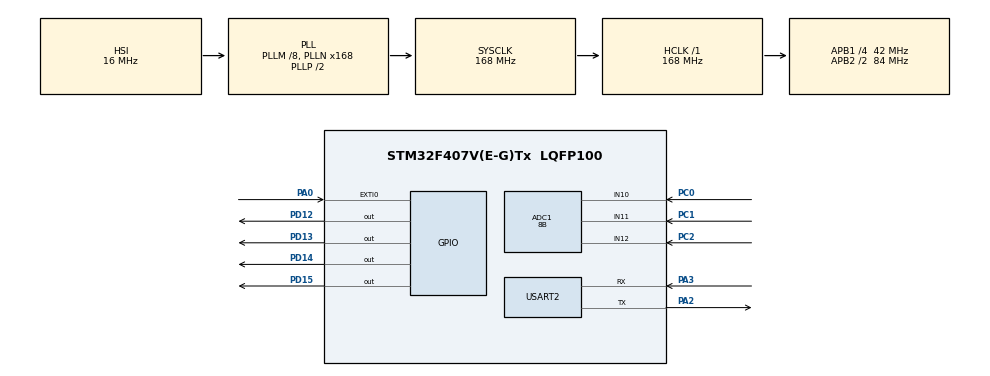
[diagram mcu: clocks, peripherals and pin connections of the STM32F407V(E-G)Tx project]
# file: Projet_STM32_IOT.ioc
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ADC1.Channel-0\#ChannelRegularConversion=ADC_CHANNEL_10
ADC1.Channel-1\#ChannelRegularConversion=ADC_CHANNEL_11
ADC1.Channel-2\#ChannelRegularConversion=ADC_CHANNEL_12
ADC1.ContinuousConvMode=ENABLE
ADC1.DMAContinuousRequests=ENABLE
ADC1.NbrOfConversion=3
ADC1.NbrOfConversionFlag=1
ADC1.Rank-0\#ChannelRegularConversion=1
ADC1.Rank-1\#ChannelRegularConversion=2
ADC1.Rank-2\#ChannelRegularConversion=3
ADC1.Resolution=ADC_RESOLUTION_8B
ADC1.SamplingTime-0\#ChannelRegularConversion=ADC_SAMPLETIME_3CYCLES
ADC1.SamplingTime-1\#ChannelRegularConversion=ADC_SAMPLETIME_3CYCLES
ADC1.SamplingTime-2\#ChannelRegularConversion=ADC_SAMPLETIME_3CYCLES
ADC1.master=1
Dma.ADC1.1.Direction=DMA_PERIPH_TO_MEMORY
Dma.ADC1.1.FIFOMode=DMA_FIFOMODE_DISABLE
Dma.ADC1.1.Instance=DMA2_Stream0
Dma.ADC1.1.MemDataAlignment=DMA_MDATAALIGN_HALFWORD
Dma.ADC1.1.MemInc=DMA_MINC_ENABLE
Dma.ADC1.1.Mode=DMA_CIRCULAR
Dma.ADC1.1.PeriphDataAlignment=DMA_PDATAALIGN_HALFWORD
Dma.ADC1.1.PeriphInc=DMA_PINC_DISABLE
Dma.ADC1.1.Priority=DMA_PRIORITY_LOW
Dma.Request0=USART2_RX
Dma.Request1=ADC1
Dma.USART2_RX.0.Direction=DMA_PERIPH_TO_MEMORY
Dma.USART2_RX.0.FIFOMode=DMA_FIFOMODE_DISABLE
Dma.USART2_RX.0.Instance=DMA1_Stream5
Dma.USART2_RX.0.MemDataAlignment=DMA_MDATAALIGN_BYTE
Dma.USART2_RX.0.MemInc=DMA_MINC_ENABLE
Dma.USART2_RX.0.Mode=DMA_NORMAL
Dma.USART2_RX.0.PeriphDataAlignment=DMA_PDATAALIGN_BYTE
Dma.USART2_RX.0.PeriphInc=DMA_PINC_DISABLE
Dma.USART2_RX.0.Priority=DMA_PRIORITY_LOW
Mcu.Family=STM32F4
Mcu.Name=STM32F407V(E-G)Tx
Mcu.Package=LQFP100
NVIC.ADC_IRQn=true\:0\:0\:false\:false\:true\:true\:true\:true
NVIC.DMA1_Stream5_IRQn=true\:0\:0\:false\:false\:true\:false\:true\:true
NVIC.DMA2_Stream0_IRQn=true\:0\:0\:false\:false\:true\:false\:true\:true
NVIC.EXTI0_IRQn=true\:0\:0\:false\:false\:true\:true\:true\:true
NVIC.PriorityGroup=NVIC_PRIORITYGROUP_0
NVIC.USART2_IRQn=true\:0\:0\:false\:false\:true\:true\:true\:true
PA0-WKUP.GPIO_ModeDefaultEXTI=GPIO_MODE_IT_FALLING
PA0-WKUP.GPIO_PuPd=GPIO_PULLDOWN
PA0-WKUP.Signal=GPXTI0
PA2.Mode=Asynchronous
PA2.Signal=USART2_TX
PA3.Mode=Asynchronous
PA3.Signal=USART2_RX
PC0.Signal=ADCx_IN10
PC1.Signal=ADCx_IN11
PC2.Signal=ADCx_IN12
PD12.Signal=GPIO_Output
PD13.Signal=GPIO_Output
PD14.Signal=GPIO_Output
PD15.Signal=GPIO_Output
ProjectManager.HeapSize=0x200
ProjectManager.StackSize=0x400
ProjectManager.TargetToolchain=STM32CubeIDE
RCC.48MHZClocksFreq_Value=48000000
RCC.AHBFreq_Value=168000000
RCC.APB1CLKDivider=RCC_HCLK_DIV4
RCC.APB1Freq_Value=42000000
RCC.APB1TimFreq_Value=84000000
RCC.APB2CLKDivider=RCC_HCLK_DIV2
RCC.APB2Freq_Value=84000000
RCC.APB2TimFreq_Value=168000000
RCC.CortexFreq_Value=168000000
RCC.HCLKFreq_Value=168000000
RCC.HSE_VALUE=8000000
RCC.HSI_VALUE=16000000
RCC.LSE_VALUE=32768
RCC.PLLM=8
RCC.PLLN=168
RCC.PLLQ=7
RCC.SYSCLKFreq_VALUE=168000000
RCC.SYSCLKSource=RCC_SYSCLKSOURCE_PLLCLK
RCC.VCOOutputFreq_Value=336000000
SH.ADCx_IN10.0=ADC1_IN10,IN10
SH.ADCx_IN11.0=ADC1_IN11,IN11
SH.ADCx_IN12.0=ADC1_IN12,IN12
USART2.VirtualMode=VM_ASYNC
board=STM32F407G-DISC1

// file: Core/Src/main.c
/* USER CODE BEGIN Header */
/**
  ******************************************************************************
  * @file           : main.c
  * @brief          : Main program body
  ******************************************************************************
  * @attention
  *
  * Copyright (c) 2025 STMicroelectronics.
  * All rights reserved.
  *
  * This software is licensed under terms that can be found in the LICENSE file
  * in the root directory of this software component.
  * If no LICENSE file comes with this software, it is provided AS-IS.
  *
  ******************************************************************************
  */
/* USER CODE END Header */
#include "main.h"

/* USER CODE BEGIN Includes */
#include "string.h"
#include "stdio.h"
/* USER CODE END Includes */

/* USER CODE BEGIN PD */
#define __CIPSTART "AT+CIPSTART=0,\"TCP\",\"api.thingspeak.com\",80\r\n"

#define WIFI_NAME     "TOPNET_5ED0"
#define WIFI_PASSWORD "191919982761198"

// Commandes AT adaptées pour ESP32
#define __RST         "AT+RST\r\n"
#define __AT          "AT\r\n"
#define __CWMODE      "AT+CWMODE=1\r\n"
#define __CIPSTART    "AT+CIPSTART=\"TCP\",\"api.thingspeak.com\",80\r\n"
#define __CIPCLOSE    "AT+CIPCLOSE\r\n"
#define DMAMAXCOUNTER 256

/* USER CODE END PD */

ADC_HandleTypeDef hadc1;
DMA_HandleTypeDef hdma_adc1;

UART_HandleTypeDef huart2;
DMA_HandleTypeDef hdma_usart2_rx;

/* USER CODE BEGIN PV */
uint8_t __CIPSEND[20]  =  "";       // Buffer for sending data, for an AT command
uint8_t RxDataBuffer[40];           // Buffer for receiving data
uint8_t Exti0=0;
uint8_t UART_DMA_DataIsReady = 0;   // Flag to indicate if UART DMA data is ready
char DMA_Buffer[256];               // Buffer for DMA data
char CPU_Buffer[256];               // Buffer for CPU data processing
char response[50];                  // Buffer for storing response data
char result[50];                    // Buffer for storing result data
char __OK[] = "OK";                 // String constant for "OK" response
char BUFFER_TO_SEND[100];           // Buffer for data to be sent
uint16_t ADCVal = 0;                 // Variable to store ADC value

uint16_t ADC_Results[3]; // Tableau pour stocker les 3 valeurs (PC0, PC1, PC2)

/* USER CODE END PV */

void SystemClock_Config(void);
static void MX_GPIO_Init(void);
static void MX_DMA_Init(void);
static void MX_USART2_UART_Init(void);
static void MX_ADC1_Init(void);
/* USER CODE BEGIN PFP */
void ESP8266_Init (void);
void ESP8266_SendServer (void);
/* USER CODE END PFP */

int main(void)
{

  /* MCU Configuration--------------------------------------------------------*/

  /* Reset of all peripherals, Initializes the Flash interface and the Systick. */
  HAL_Init();

  /* Configure the system clock */
  SystemClock_Config();

  /* Initialize all configured peripherals */
  MX_GPIO_Init();
  MX_DMA_Init();
  MX_USART2_UART_Init();
  MX_ADC1_Init();
  HAL_ADC_Start_DMA(&hadc1, (uint32_t*)ADC_Results, 3);
  HAL_Delay(500);
  /* USER CODE BEGIN 2 */
  ESP8266_Init();
  /* USER CODE END 2 */

  /* Infinite loop */
  while (1)
  {

    /* USER CODE BEGIN 3 */

	    while (Exti0 == 0){}
	    ESP8266_SendServer();
  }
  /* USER CODE END 3 */
}

void SystemClock_Config(void)
{
  RCC_OscInitTypeDef RCC_OscInitStruct = {0};
  RCC_ClkInitTypeDef RCC_ClkInitStruct = {0};

  /** Configure the main internal regulator output voltage
  */
  __HAL_RCC_PWR_CLK_ENABLE();
  __HAL_PWR_VOLTAGESCALING_CONFIG(PWR_REGULATOR_VOLTAGE_SCALE1);

  /** Initializes the RCC Oscillators according to the specified parameters
  * in the RCC_OscInitTypeDef structure.
  */
  RCC_OscInitStruct.OscillatorType = RCC_OSCILLATORTYPE_HSI;
  RCC_OscInitStruct.HSIState = RCC_HSI_ON;
  RCC_OscInitStruct.HSICalibrationValue = RCC_HSICALIBRATION_DEFAULT;
  RCC_OscInitStruct.PLL.PLLState = RCC_PLL_ON;
  RCC_OscInitStruct.PLL.PLLSource = RCC_PLLSOURCE_HSI;
  RCC_OscInitStruct.PLL.PLLM = 8;
  RCC_OscInitStruct.PLL.PLLN = 168;
  RCC_OscInitStruct.PLL.PLLP = RCC_PLLP_DIV2;
  RCC_OscInitStruct.PLL.PLLQ = 7;
  if (HAL_RCC_OscConfig(&RCC_OscInitStruct) != HAL_OK)
  {
    Error_Handler();
  }

  /** Initializes the CPU, AHB and APB buses clocks
  */
  RCC_ClkInitStruct.ClockType = RCC_CLOCKTYPE_HCLK|RCC_CLOCKTYPE_SYSCLK
                              |RCC_CLOCKTYPE_PCLK1|RCC_CLOCKTYPE_PCLK2;
  RCC_ClkInitStruct.SYSCLKSource = RCC_SYSCLKSOURCE_PLLCLK;
  RCC_ClkInitStruct.AHBCLKDivider = RCC_SYSCLK_DIV1;
  RCC_ClkInitStruct.APB1CLKDivider = RCC_HCLK_DIV4;
  RCC_ClkInitStruct.APB2CLKDivider = RCC_HCLK_DIV2;

  if (HAL_RCC_ClockConfig(&RCC_ClkInitStruct, FLASH_LATENCY_5) != HAL_OK)
  {
    Error_Handler();
  }
}

static void MX_ADC1_Init(void)
{

  ADC_ChannelConfTypeDef sConfig = {0};

  /** Configure the global features of the ADC (Clock, Resolution, Data Alignment and number of conversion)
  */
  hadc1.Instance = ADC1;
  hadc1.Init.ClockPrescaler = ADC_CLOCK_SYNC_PCLK_DIV4;
  hadc1.Init.Resolution = ADC_RESOLUTION_8B;
  hadc1.Init.ScanConvMode = ENABLE;
  hadc1.Init.ContinuousConvMode = ENABLE;
  hadc1.Init.DiscontinuousConvMode = DISABLE;
  hadc1.Init.ExternalTrigConvEdge = ADC_EXTERNALTRIGCONVEDGE_NONE;
  hadc1.Init.ExternalTrigConv = ADC_SOFTWARE_START;
  hadc1.Init.DataAlign = ADC_DATAALIGN_RIGHT;
  hadc1.Init.NbrOfConversion = 3;
  hadc1.Init.DMAContinuousRequests = ENABLE;
  hadc1.Init.EOCSelection = ADC_EOC_SINGLE_CONV;
  if (HAL_ADC_Init(&hadc1) != HAL_OK)
  {
    Error_Handler();
  }

  /** Configure for the selected ADC regular channel its corresponding rank in the sequencer and its sample time.
  */
  sConfig.Channel = ADC_CHANNEL_10;
  sConfig.Rank = 1;
  sConfig.SamplingTime = ADC_SAMPLETIME_3CYCLES;
  if (HAL_ADC_ConfigChannel(&hadc1, &sConfig) != HAL_OK)
  {
    Error_Handler();
  }

  /** Configure for the selected ADC regular channel its corresponding rank in the sequencer and its sample time.
  */
  sConfig.Channel = ADC_CHANNEL_11;
  sConfig.Rank = 2;
  if (HAL_ADC_ConfigChannel(&hadc1, &sConfig) != HAL_OK)
  {
    Error_Handler();
  }

  /** Configure for the selected ADC regular channel its corresponding rank in the sequencer and its sample time.
  */
  sConfig.Channel = ADC_CHANNEL_12;
  sConfig.Rank = 3;
  if (HAL_ADC_ConfigChannel(&hadc1, &sConfig) != HAL_OK)
  {
    Error_Handler();
  }

}

static void MX_USART2_UART_Init(void)
{

  huart2.Instance = USART2;
  huart2.Init.BaudRate = 115200;
  huart2.Init.WordLength = UART_WORDLENGTH_8B;
  huart2.Init.StopBits = UART_STOPBITS_1;
  huart2.Init.Parity = UART_PARITY_NONE;
  huart2.Init.Mode = UART_MODE_TX_RX;
  huart2.Init.HwFlowCtl = UART_HWCONTROL_NONE;
  huart2.Init.OverSampling = UART_OVERSAMPLING_16;
  if (HAL_UART_Init(&huart2) != HAL_OK)
  {
    Error_Handler();
  }

}

static void MX_DMA_Init(void)
{

  /* DMA controller clock enable */
  __HAL_RCC_DMA1_CLK_ENABLE();
  __HAL_RCC_DMA2_CLK_ENABLE();

  /* DMA interrupt init */
  /* DMA1_Stream5_IRQn interrupt configuration */
  HAL_NVIC_SetPriority(DMA1_Stream5_IRQn, 0, 0);
  HAL_NVIC_EnableIRQ(DMA1_Stream5_IRQn);
  /* DMA2_Stream0_IRQn interrupt configuration */
  HAL_NVIC_SetPriority(DMA2_Stream0_IRQn, 0, 0);
  HAL_NVIC_EnableIRQ(DMA2_Stream0_IRQn);

}

static void MX_GPIO_Init(void)
{
  GPIO_InitTypeDef GPIO_InitStruct = {0};

  /* GPIO Ports Clock Enable */
  __HAL_RCC_GPIOC_CLK_ENABLE();
  __HAL_RCC_GPIOA_CLK_ENABLE();
  __HAL_RCC_GPIOD_CLK_ENABLE();

  /*Configure GPIO pin Output Level */
  HAL_GPIO_WritePin(GPIOD, GPIO_PIN_12|GPIO_PIN_13|GPIO_PIN_14|GPIO_PIN_15, GPIO_PIN_RESET);

  /*Configure GPIO pin : PA0 */
  GPIO_InitStruct.Pin = GPIO_PIN_0;
  GPIO_InitStruct.Mode = GPIO_MODE_IT_FALLING;
  GPIO_InitStruct.Pull = GPIO_PULLDOWN;
  HAL_GPIO_Init(GPIOA, &GPIO_InitStruct);

  /*Configure GPIO pins : PD12 PD13 PD14 PD15 */
  GPIO_InitStruct.Pin = GPIO_PIN_12|GPIO_PIN_13|GPIO_PIN_14|GPIO_PIN_15;
  GPIO_InitStruct.Mode = GPIO_MODE_OUTPUT_PP;
  GPIO_InitStruct.Pull = GPIO_NOPULL;
  GPIO_InitStruct.Speed = GPIO_SPEED_FREQ_LOW;
  HAL_GPIO_Init(GPIOD, &GPIO_InitStruct);

  /* EXTI interrupt init*/
  HAL_NVIC_SetPriority(EXTI0_IRQn, 0, 0);
  HAL_NVIC_EnableIRQ(EXTI0_IRQn);

}

/* USER CODE BEGIN 4 */

void ESP8266_Init (void)
{
  ESP8266_SendCommand ((uint8_t*)__RST);
  HAL_Delay(2000);
  ESP8266_SendCommand ((uint8_t*)__AT);
  ESP8266_SendCommand ((uint8_t*)__CWMODE);
  // Utilisation directe des macros
  ESP8266_Connect_To_WiFi((uint8_t*)WIFI_NAME, (uint8_t*)WIFI_PASSWORD);
  HAL_Delay(4000);
}

// Function to send data to the server
void ESP8266_SendServer (void)
{
  // 1. On lance la connexion au serveur
  ESP8266_SendCommand (__CIPSTART);
  HAL_Delay(500); // Petite pause nécessaire pour que la connexion s'établisse

  // 2. On prépare le message pour ThingSpeak
  memset(BUFFER_TO_SEND, '\0', sizeof(BUFFER_TO_SEND));
  sprintf(BUFFER_TO_SEND, "GET /update?api_key=H26UVWP20AEFY28B&field1=%d&field2=%d&field3=%d\r\n",
          ADC_Results[0], ADC_Results[1], ADC_Results[2]);

  // 3. On dit à l'ESP combien de caractères on va envoyer
  sprintf((char*)__CIPSEND, "AT+CIPSEND=0,%d\r\n", strlen(BUFFER_TO_SEND));
  ESP8266_SendCommand (__CIPSEND);

  // 4. On envoie les données
  ESP8266_SendCommand((uint8_t*)BUFFER_TO_SEND);

  // 5. On ferme la connexion
  ESP8266_SendCommand("AT+CIPCLOSE=0\r\n");

  Exti0 = 0;
  HAL_Delay(15000); // Attendre 15 secondes (limite de ThingSpeak)
}

// Function to prepare the ESP8266 to receive data
void ESP8266_Receive (void)
{
  // Reset the data ready flag
  UART_DMA_DataIsReady = 0;
  // Clear the DMA buffer
  memset (DMA_Buffer, '\0', sizeof(DMA_Buffer));
  // Start UART reception with DMA, receiving data until idle
  HAL_UARTEx_ReceiveToIdle_DMA(&huart2, (uint8_t*)DMA_Buffer, sizeof(DMA_Buffer));
}

// Function to connect the ESP8266 to a WiFi network
void ESP8266_Connect_To_WiFi (uint8_t * wifi_name, uint8_t * password)
{
  uint8_t wifi_Command[40];
  // Format the WiFi connection command with the provided SSID and password
  sprintf((char*)wifi_Command, "AT+CWJAP=\"%s\",\"%s\"\r\n", wifi_name, password);
  // Send the WiFi connection command to the ESP8266
  ESP8266_SendCommand(wifi_Command);
}

// Function to send a command to the ESP8266 and receive the response
void ESP8266_SendCommand (uint8_t * command)
{
  uint32_t timeout = 5000000;
  HAL_GPIO_TogglePin(GPIOD, GPIO_PIN_12);
  ESP8266_Receive();
  HAL_UART_Transmit(&huart2, command, strlen((const char*)command), 1000);

  while (UART_DMA_DataIsReady == 0 && timeout > 0) {
      timeout--;
  }
  HAL_Delay(50);
}
// Callback function for UART receive event
void HAL_UARTEx_RxEventCallback(UART_HandleTypeDef *huart, uint16_t Size)
{
  // Toggle a GPIO pin (for debugging or indication purposes)
  HAL_GPIO_TogglePin(GPIOD, GPIO_PIN_13);
  // Clear the CPU buffer
  memset (CPU_Buffer, '\0', sizeof(CPU_Buffer));
  // Copy the received data from the DMA buffer to the CPU buffer
  memcpy (CPU_Buffer, DMA_Buffer, (DMAMAXCOUNTER - DMA1_Stream5->NDTR));
  // Prepare to receive the next data
  ESP8266_Receive();
  // Set the data ready flag
  UART_DMA_DataIsReady = 1;
}
/* USER CODE END 4 */

void Error_Handler(void)
{
  __disable_irq();
  while (1)
  {
  }
}
